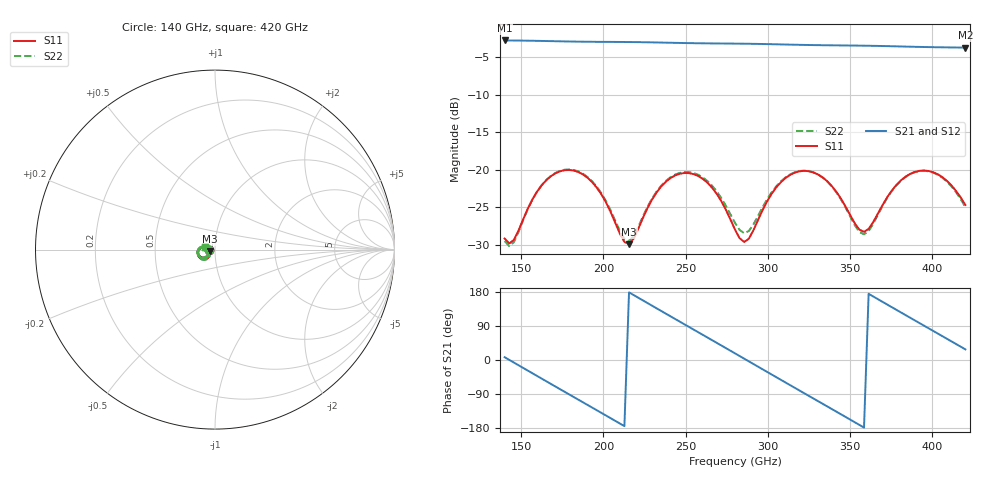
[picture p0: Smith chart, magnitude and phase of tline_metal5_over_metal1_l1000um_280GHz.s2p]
#  GHZ S DB R 50
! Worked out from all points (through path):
!   101 points, 140 GHz to 420 GHz, reference 50 ohm
!   highest |S21| = -2.77 dB at 140 GHz (marker M1); lowest = -3.7 dB at 420 GHz (marker M2)
!   group delay of S21, straight-line fit = 6.94 ps
!   lowest |S11| = -29.9 dB at 215.6 GHz (marker M3), VSWR 1.07, Z = 47.1 - j0.95 ohm
!   |S11| at or under -10 dB: start of sweep to end of sweep
!   |S22| runs from -30.2 to -20.0 dB; largest |S21 - S12| = 1.3e-15
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140  -29.19 -173.7  -2.77 7.4  -2.77 7.4  -29.52 -173.7
145.6  -29.40 -146.0  -2.78 -6.7  -2.78 -6.7  -29.69 -144.1
165.2  -21.44 -139.2  -2.85 -55.8  -2.85 -55.8  -21.40 -137.5
176.4  -20.07 -157.9  -2.90 -83.8  -2.90 -83.8  -20.01 -156.4
187.6  -20.64 -177.4  -2.94 -111.6  -2.94 -111.6  -20.55 -175.8
201.6  -24.37 165.5  -2.96 -146.5  -2.96 -146.5  -24.20 167.6
215.6  -29.93 -161.6  -2.98 178.4  -2.98 178.4  -29.51 -160.9
235.2  -22.24 -141.4  -3.05 129.3  -3.05 129.3  -22.13 -140.7
246.4  -20.55 -158.4  -3.10 101.3  -3.10 101.3  -20.44 -157.2
257.6  -20.85 -176.9  -3.15 73.4  -3.15 73.4  -20.68 -175.1
280  -27.99 172.7  -3.19 17.5  -3.19 17.5  -27.10 175.3
288.4  -29.22 -152.5  -3.22 -3.5  -3.22 -3.5  -28.18 -155.7
299.6  -24.19 -135.8  -3.26 -31.6  -3.26 -31.6  -23.92 -139.7
313.6  -20.69 -151.7  -3.33 -66.6  -3.33 -66.6  -20.62 -154.2
327.6  -20.36 -173.9  -3.39 -101.5  -3.39 -101.5  -20.36 -175.9
344.4  -23.88 167.4  -3.43 -143.3  -3.43 -143.3  -23.98 165.6
358.4  -28.30 -166.4  -3.47 -178.3  -3.47 -178.3  -28.62 -166.9
375.2  -22.82 -143.5  -3.54 139.6  -3.54 139.6  -22.88 -143.1
386.4  -20.57 -156.5  -3.60 111.6  -3.60 111.6  -20.60 -156.3
397.6  -20.18 -173.2  -3.66 83.8  -3.66 83.8  -20.22 -173.4
408.8  -21.50 171.5  -3.70 55.9  -3.70 55.9  -21.60 171.0
420  -24.71 165.4  -3.73 28.0  -3.73 28.0  -25.00 164.5
